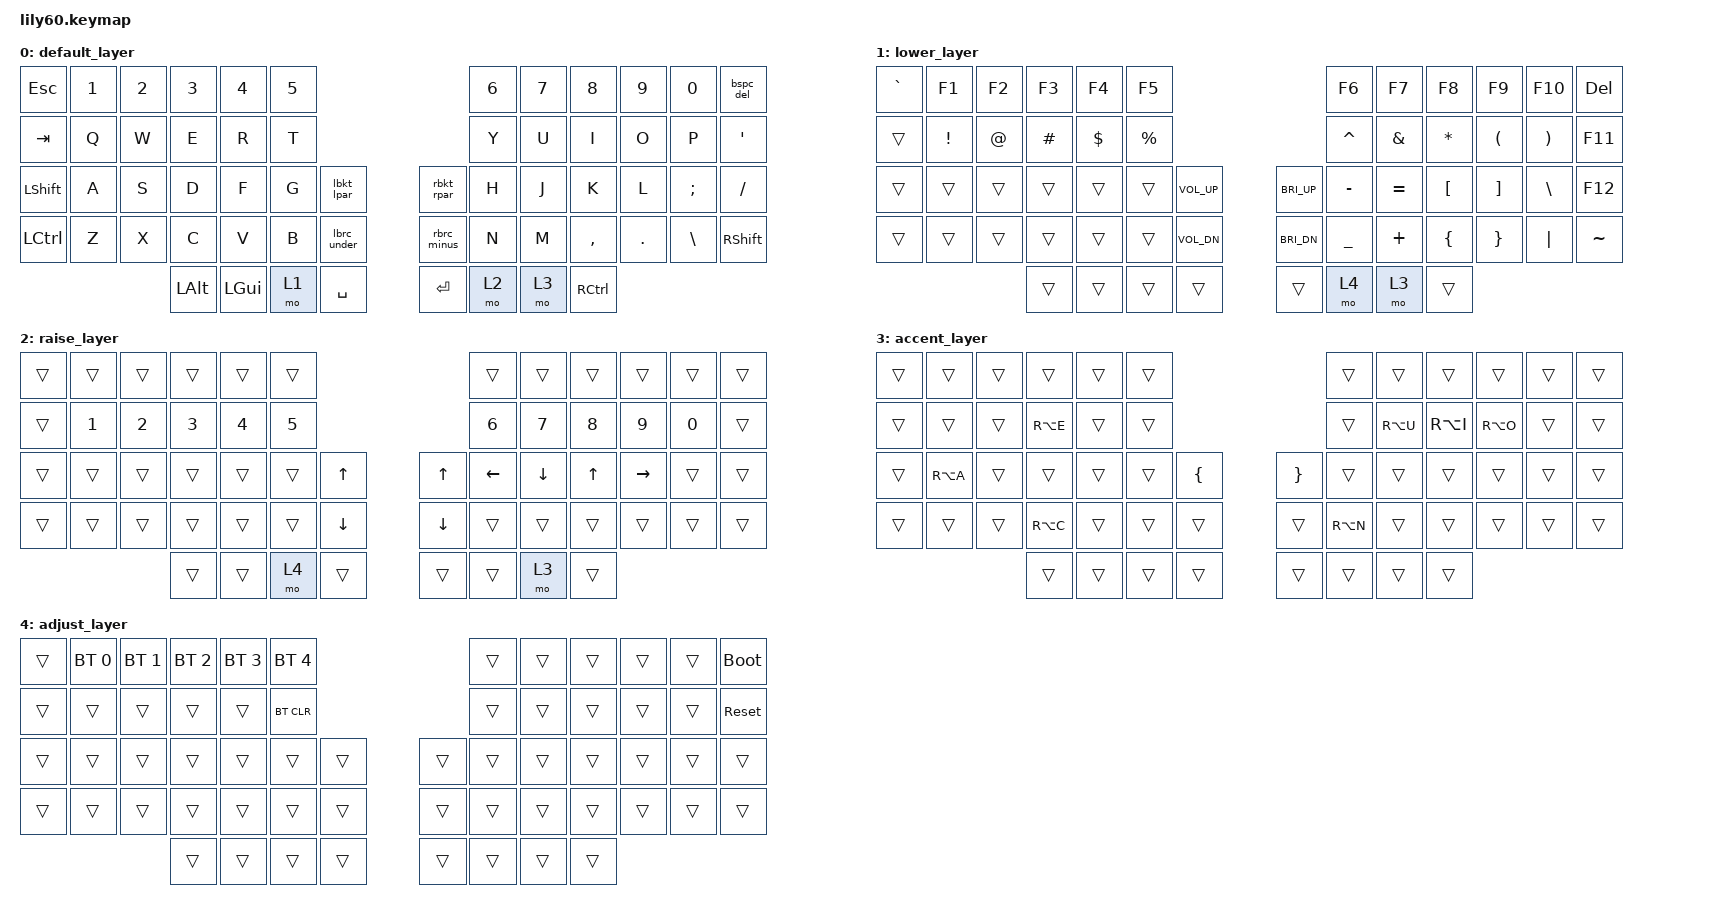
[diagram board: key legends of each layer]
/*
 * Copyright (c) 2025
 * SPDX-License-Identifier: MIT
 */

#include <behaviors.dtsi>
#include <dt-bindings/zmk/keys.h>
#include <dt-bindings/zmk/bt.h>

/ {
    behaviors {

        /* BSPC normale, DEL con shift */
        bspc_del: backspace_delete {
            compatible = "zmk,behavior-mod-morph";
            #binding-cells = <0>;
            bindings = <&kp BSPC>, <&kp DEL>;
            mods = <(MOD_LSFT|MOD_RSFT)>;
        };

        /* { normale, _ con shift */
        lbrc_under: lbrace_underscore {
            compatible = "zmk,behavior-mod-morph";
            #binding-cells = <0>;
            bindings = <&kp LBRC>, <&kp UNDER>;
            mods = <(MOD_LSFT|MOD_RSFT)>;
        };

        /* } normale, - con shift */
        rbrc_minus: rbrace_minus {
            compatible = "zmk,behavior-mod-morph";
            #binding-cells = <0>;
            bindings = <&kp RBRC>, <&kp MINUS>;
            mods = <(MOD_LSFT|MOD_RSFT)>;
        };

        /* [ normale, ( con shift */
        lbkt_lpar: lbracket_lpar {
            compatible = "zmk,behavior-mod-morph";
            #binding-cells = <0>;
            bindings = <&kp LBKT>, <&kp LPAR>;
            mods = <(MOD_LSFT|MOD_RSFT)>;
        };

        /* ] normale, ) con shift */
        rbkt_rpar: rbracket_rpar {
            compatible = "zmk,behavior-mod-morph";
            #binding-cells = <0>;
            bindings = <&kp RBKT>, <&kp RPAR>;
            mods = <(MOD_LSFT|MOD_RSFT)>;
        };

    };

    keymap {
        compatible = "zmk,keymap";

        default_layer {
            bindings = <
&kp ESC       &kp N1        &kp N2        &kp N3        &kp N4        &kp N5                                                      &kp N6        &kp N7        &kp N8        &kp N9        &kp N0        &bspc_del
&kp TAB       &kp Q         &kp W         &kp E         &kp R         &kp T                                                       &kp Y         &kp U         &kp I         &kp O         &kp P         &kp SQT
&kp LSHFT     &kp A         &kp S         &kp D         &kp F         &kp G         &lbkt_lpar                        &rbkt_rpar    &kp H         &kp J         &kp K         &kp L         &kp SEMI      &kp FSLH
&kp LCTRL     &kp Z         &kp X         &kp C         &kp V         &kp B         &lbrc_under                       &rbrc_minus   &kp N         &kp M         &kp COMMA     &kp DOT       &kp BSLH      &kp RSHFT
                                          &kp LALT      &kp LGUI      &mo 1         &kp SPACE                         &kp RET       &mo 2         &mo 3         &kp RCTRL
            >;
        };

        lower_layer {
            bindings = <
&kp GRAVE     &kp F1        &kp F2        &kp F3        &kp F4        &kp F5                                                      &kp F6        &kp F7        &kp F8        &kp F9        &kp F10       &kp DEL
&trans        &kp EXCL      &kp AT        &kp HASH      &kp DLLR      &kp PRCNT                                                   &kp CARET     &kp AMPS      &kp STAR      &kp LPAR      &kp RPAR      &kp F11
&trans        &trans        &trans        &trans        &trans        &trans        &kp C_VOL_UP                      &kp C_BRI_UP  &kp MINUS     &kp EQUAL     &kp LBKT      &kp RBKT      &kp BSLH      &kp F12
&trans        &trans        &trans        &trans        &trans        &trans        &kp C_VOL_DN                      &kp C_BRI_DN  &kp UNDER     &kp PLUS      &kp LBRC      &kp RBRC      &kp PIPE      &kp TILDE
                                          &trans        &trans        &trans        &trans                            &trans        &mo 4         &mo 3         &trans
            >;
        };

        raise_layer {
            bindings = <
&trans        &trans        &trans        &trans        &trans        &trans                                                      &trans        &trans        &trans        &trans        &trans        &trans
&trans        &kp N1        &kp N2        &kp N3        &kp N4        &kp N5                                                      &kp N6        &kp N7        &kp N8        &kp N9        &kp N0        &trans
&trans        &trans        &trans        &trans        &trans        &trans        &kp UP                            &kp UP        &kp LEFT      &kp DOWN      &kp UP        &kp RIGHT     &trans        &trans
&trans        &trans        &trans        &trans        &trans        &trans        &kp DOWN                          &kp DOWN      &trans        &trans        &trans        &trans        &trans        &trans
                                          &trans        &trans        &mo 4         &trans                            &trans        &trans        &mo 3         &trans
            >;
        };

        accent_layer {
            bindings = <
&trans        &trans        &trans        &trans        &trans        &trans                                                      &trans        &trans        &trans        &trans        &trans        &trans
&trans        &trans        &trans        &kp RA(E)     &trans        &trans                                                      &trans        &kp RA(U)     &kp RA(I)     &kp RA(O)     &trans        &trans
&trans        &kp RA(A)     &trans        &trans        &trans        &trans        &kp LBRC                          &kp RBRC      &trans        &trans        &trans        &trans        &trans        &trans
&trans        &trans        &trans        &kp RA(C)     &trans        &trans        &trans                            &trans        &kp RA(N)     &trans        &trans        &trans        &trans        &trans
                                          &trans        &trans        &trans        &trans                            &trans        &trans        &trans        &trans
            >;
        };

        adjust_layer {
            bindings = <
&trans        &bt BT_SEL 0  &bt BT_SEL 1  &bt BT_SEL 2  &bt BT_SEL 3  &bt BT_SEL 4                                                &trans        &trans        &trans        &trans        &trans        &bootloader
&trans        &trans        &trans        &trans        &trans        &bt BT_CLR                                                  &trans        &trans        &trans        &trans        &trans        &sys_reset
&trans        &trans        &trans        &trans        &trans        &trans        &trans                            &trans        &trans        &trans        &trans        &trans        &trans        &trans
&trans        &trans        &trans        &trans        &trans        &trans        &trans                            &trans        &trans        &trans        &trans        &trans        &trans        &trans
                                          &trans        &trans        &trans        &trans                            &trans        &trans        &trans        &trans
            >;
        };
    };
};
